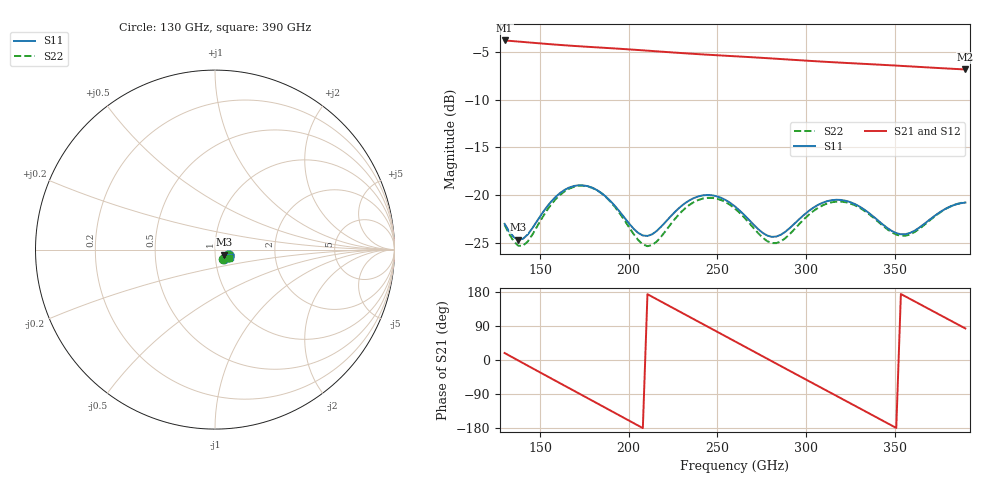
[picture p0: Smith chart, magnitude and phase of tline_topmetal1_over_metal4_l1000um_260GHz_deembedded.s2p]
! Created with skrf 2.2.0 (http://scikit-rf.org).
# GHz S DB R 50.0
! Port[1] = P1
! Port[2] = P2
!freq dBS11 angS11 dBS21 angS21 dBS12 angS12 dBS22 angS22
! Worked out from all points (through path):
!   101 points, 130 GHz to 390 GHz, reference 50 ohm
!   highest |S21| = -3.76 dB at 130 GHz (marker M1); lowest = -6.8 dB at 390 GHz (marker M2)
!   group delay of S21, straight-line fit = 7 ps
!   lowest |S11| = -24.7 dB at 137.8 GHz (marker M3), VSWR 1.12, Z = 55.3 - j3.04 ohm
!   |S11| at or under -10 dB: start of sweep to end of sweep
!   |S22| runs from -25.4 to -19.0 dB; largest |S21 - S12| = 9.3e-14
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130  -23.03 -45.2  -3.76 18.5  -3.76 18.5  -23.14 -51.9
137.8  -24.70 -28.1  -3.88 -1.6  -3.88 -1.6  -25.33 -34.2
148.2  -22.77 -7.7  -4.04 -28.1  -4.04 -28.1  -23.35 -9.8
158.6  -20.23 -9.3  -4.20 -54.5  -4.20 -54.5  -20.49 -11.0
174.2  -18.98 -25.9  -4.40 -94.0  -4.40 -94.0  -19.03 -29.1
184.6  -19.79 -37.1  -4.52 -120.4  -4.52 -120.4  -19.81 -41.8
197.6  -22.38 -41.9  -4.67 -153.4  -4.67 -153.4  -22.64 -49.2
208  -24.25 -29.7  -4.80 -179.8  -4.80 -179.8  -25.19 -36.8
218.4  -23.31 -14.0  -4.94 153.9  -4.94 153.9  -24.36 -16.2
239.2  -20.15 -20.3  -5.20 101.5  -5.20 101.5  -20.53 -21.4
249.6  -20.13 -30.4  -5.32 75.4  -5.32 75.4  -20.38 -32.4
260  -21.20 -38.5  -5.43 49.2  -5.43 49.2  -21.43 -41.6
270.4  -23.09 -39.1  -5.54 22.9  -5.54 22.9  -23.45 -43.4
280.8  -24.40 -27.5  -5.66 -3.3  -5.66 -3.3  -25.05 -31.2
291.2  -23.42 -15.1  -5.78 -29.4  -5.78 -29.4  -24.05 -16.6
304.2  -21.33 -15.6  -5.93 -62.0  -5.93 -62.0  -21.69 -16.5
325  -20.74 -32.3  -6.15 -114.1  -6.15 -114.1  -20.89 -34.1
338  -22.25 -38.7  -6.27 -146.7  -6.27 -146.7  -22.36 -41.1
348.4  -23.77 -34.4  -6.38 -172.8  -6.38 -172.8  -23.91 -37.1
358.8  -23.98 -23.0  -6.49 161.1  -6.49 161.1  -24.14 -25.4
371.8  -22.31 -16.8  -6.63 128.6  -6.63 128.6  -22.38 -19.1
390  -20.80 -26.9  -6.81 83.2  -6.81 83.2  -20.76 -29.4
